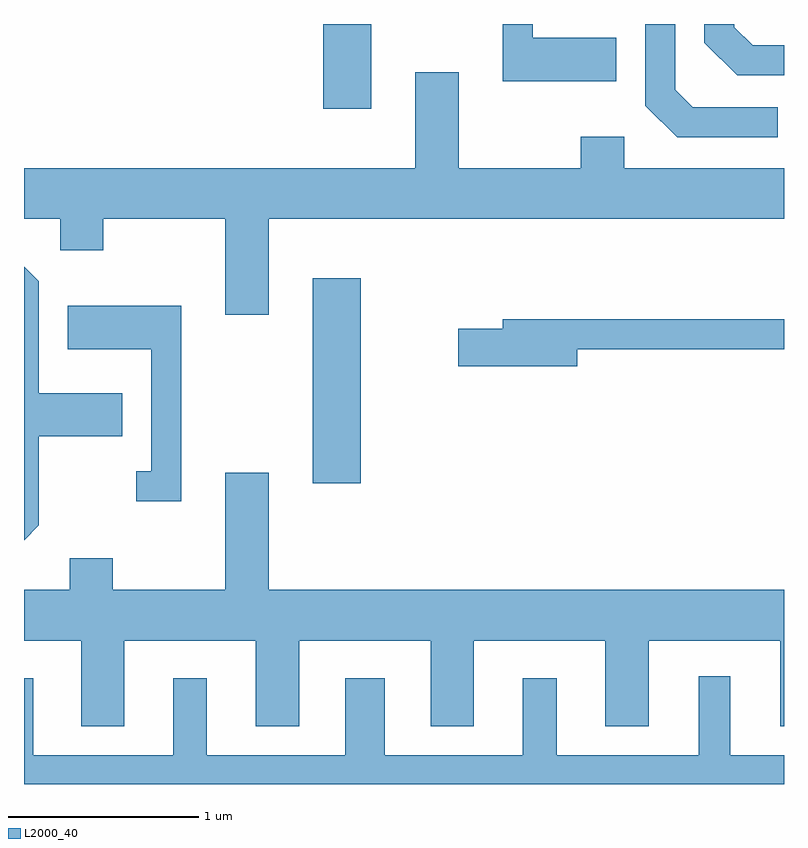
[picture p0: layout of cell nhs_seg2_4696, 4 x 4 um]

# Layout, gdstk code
import gdstk
lib = gdstk.Library(unit=1e-6, precision=1e-09)
def R(c, l, rs):  # rectangles x0, y0, x1, y1
    for r in rs: c.add(gdstk.rectangle(r[:2], r[2:], *l))
def P(c, l, *ps):  # polygons
    for p in ps: c.add(gdstk.Polygon(p, *l))
L2000_40 = (2000, 40)

nhs_seg2_4696 = lib.new_cell('nhs_seg2_4696')
R(nhs_seg2_4696, L2000_40, [(325.131,1031.386,325.384,1032.464), (325.186,1033.356,325.439,1033.802)])
P(nhs_seg2_4696, L2000_40, [(326.729,1033.729),(326.289,1033.729),(326.289,1033.802),(326.131,1033.802),(326.131,1033.501),(326.729,1033.501)],
  [(327.578,1033.364),(327.132,1033.364),(327.039,1033.457),(327.039,1033.802),(326.881,1033.802),(326.881,1033.373),(327.049,1033.206),(327.578,1033.206)],
  [(327.611,1033.689),(327.447,1033.689),(327.349,1033.786),(327.349,1033.802),(327.191,1033.802),(327.191,1033.704),(327.364,1033.531),(327.611,1033.531)],
  [(324.899,1032.776),(327.611,1032.776),(327.611,1033.044),(326.769,1033.044),(326.769,1033.209),(326.541,1033.209),(326.541,1033.044),(325.899,1033.044),(325.899,1033.549),(325.671,1033.549),(325.671,1033.044),(323.611,1033.044),(323.611,1032.776),(323.801,1032.776),(323.801,1032.611),(324.029,1032.611),(324.029,1032.776),(324.671,1032.776),(324.671,1032.271),(324.899,1032.271)],
  [(323.689,1031.164),(323.689,1031.631),(324.129,1031.631),(324.129,1031.859),(323.689,1031.859),(323.689,1032.447),(323.611,1032.525),(323.611,1031.086)],
  [(324.439,1032.319),(323.841,1032.319),(323.841,1032.091),(324.281,1032.091),(324.281,1031.449),(324.203,1031.449),(324.203,1031.291),(324.439,1031.291)],
  [(326.524,1032.091),(327.611,1032.091),(327.611,1032.249),(326.131,1032.249),(326.131,1032.199),(325.896,1032.199),(325.896,1032.001),(326.524,1032.001)],
  [(324.139,1030.556),(324.831,1030.556),(324.831,1030.106),(325.059,1030.106),(325.059,1030.556),(325.751,1030.556),(325.751,1030.106),(325.979,1030.106),(325.979,1030.556),(326.671,1030.556),(326.671,1030.106),(326.899,1030.106),(326.899,1030.556),(327.591,1030.556),(327.591,1030.106),(327.611,1030.106),(327.611,1030.824),(324.899,1030.824),(324.899,1031.439),(324.671,1031.439),(324.671,1030.824),(324.079,1030.824),(324.079,1030.989),(323.851,1030.989),(323.851,1030.824),(323.611,1030.824),(323.611,1030.556),(323.911,1030.556),(323.911,1030.106),(324.139,1030.106)],
  [(327.611,1029.954),(327.329,1029.954),(327.329,1030.368),(327.161,1030.368),(327.161,1029.954),(326.414,1029.954),(326.414,1030.359),(326.236,1030.359),(326.236,1029.954),(325.509,1029.954),(325.509,1030.359),(325.301,1030.359),(325.301,1029.954),(324.574,1029.954),(324.574,1030.359),(324.396,1030.359),(324.396,1029.954),(323.659,1029.954),(323.659,1030.359),(323.611,1030.359),(323.611,1029.802),(327.611,1029.802)])

lib.write_gds('nhs_seg2_4696.gds')
